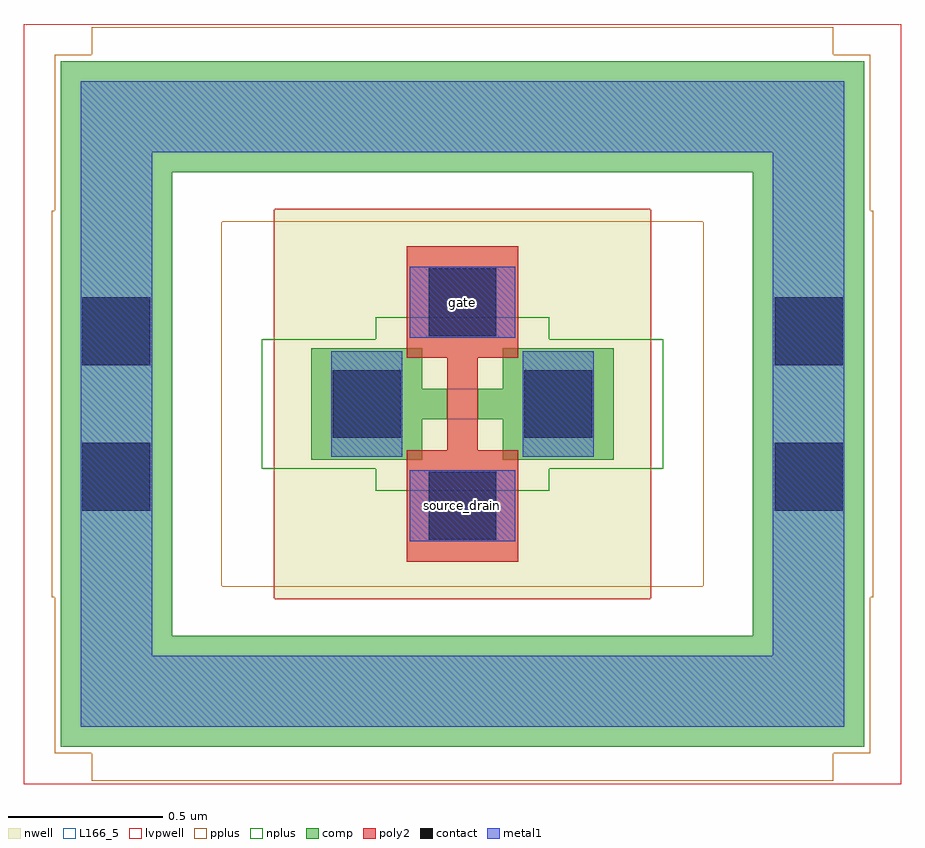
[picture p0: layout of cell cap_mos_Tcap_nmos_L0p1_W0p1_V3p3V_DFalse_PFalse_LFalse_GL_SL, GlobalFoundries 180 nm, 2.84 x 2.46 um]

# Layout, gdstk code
import gdstk
lib = gdstk.Library(unit=1e-6, precision=1e-09)
def R(c, l, rs):  # rectangles x0, y0, x1, y1
    for r in rs: c.add(gdstk.rectangle(r[:2], r[2:], *l))
nwell = (21, 0)
comp = (22, 0)
poly2 = (30, 0)
pplus = (31, 0)
nplus = (32, 0)
contact = (33, 0)
metal1 = (34, 0)
L166_5 = (166, 5)
lvpwell = (204, 0)

cap_mos_tcap_nmos_l0p1_w = lib.new_cell('cap_mos_Tcap_nmos_L0p1_W0p1_V3p3V_DFalse_PFalse_LFalse_GL_SL')
R(cap_mos_tcap_nmos_l0p1_w, nwell, [(-0.61,-0.63,0.61,0.63)])
R(cap_mos_tcap_nmos_l0p1_w, comp, [(-1.3,-1.11,1.3,-0.75), (-1.3,-1.11,-0.94,1.11), (0.94,-1.11,1.3,1.11), (-1.3,-0.59,-0.94,0.59), (0.94,-0.59,1.3,0.59), (-0.49,-0.18,-0.13,0.18), (0.13,-0.18,0.49,0.18), (-0.49,-0.05,-0.05,0.05), (0.05,-0.05,0.49,0.05), (-1.3,0.75,1.3,1.11)])
R(cap_mos_tcap_nmos_l0p1_w, poly2, [(-0.18,-0.51,0.18,-0.15), (-0.05,-0.51,0.05,0.51), (-0.18,0.15,0.18,0.51)])
R(cap_mos_tcap_nmos_l0p1_w, pplus, [(-1.2,-1.22,1.2,-1.13), (-1.32,-1.13,1.32,-0.625), (-1.33,-0.625,1.33,-0.59), (-1.33,-0.59,-0.78,0.59), (0.78,-0.59,1.33,0.59), (-1.33,0.59,1.33,0.625), (-1.32,0.625,1.32,1.13), (-1.2,1.13,1.2,1.22)])
R(cap_mos_tcap_nmos_l0p1_w, nplus, [(-0.28,-0.28,0.28,-0.21), (-0.65,-0.21,0.65,0.21), (-0.28,0.21,0.28,0.28)])
R(cap_mos_tcap_nmos_l0p1_w, contact, [(-0.11,-0.44,0.11,-0.22), (-1.23,-0.345,-1.01,-0.125), (1.01,-0.345,1.23,-0.125), (-0.42,-0.11,-0.2,0.11), (0.2,-0.11,0.42,0.11), (-1.23,0.125,-1.01,0.345), (1.01,0.125,1.23,0.345), (-0.11,0.22,0.11,0.44)])
R(cap_mos_tcap_nmos_l0p1_w, metal1, [(-1.235,-1.045,1.235,-0.815), (-1.235,-1.045,-1.005,1.045), (1.005,-1.045,1.235,1.045), (-1.235,-0.58,-1.005,0.58), (1.005,-0.58,1.235,0.58), (-0.17,-0.445,0.17,-0.215), (-0.425,-0.17,-0.195,0.17), (0.195,-0.17,0.425,0.17), (-0.17,0.215,0.17,0.445), (-1.235,0.815,1.235,1.045)])
R(cap_mos_tcap_nmos_l0p1_w, L166_5, [(-0.05,-0.05,0.05,0.05)])
R(cap_mos_tcap_nmos_l0p1_w, lvpwell, [(-1.42,-1.23,1.42,-0.63), (-1.42,-0.63,-0.61,0.63), (0.61,-0.63,1.42,0.63), (-1.42,0.63,1.42,1.23)])
cap_mos_tcap_nmos_l0p1_w.add(gdstk.Label('gate', (0,0.33), layer=34, texttype=10))
cap_mos_tcap_nmos_l0p1_w.add(gdstk.Label('source_drain', (0,-0.33), layer=34, texttype=10))

lib.write_gds('cap_mos_Tcap_nmos_L0p1_W0p1_V3p3V_DFalse_PFalse_LFalse_GL_SL.gds')
